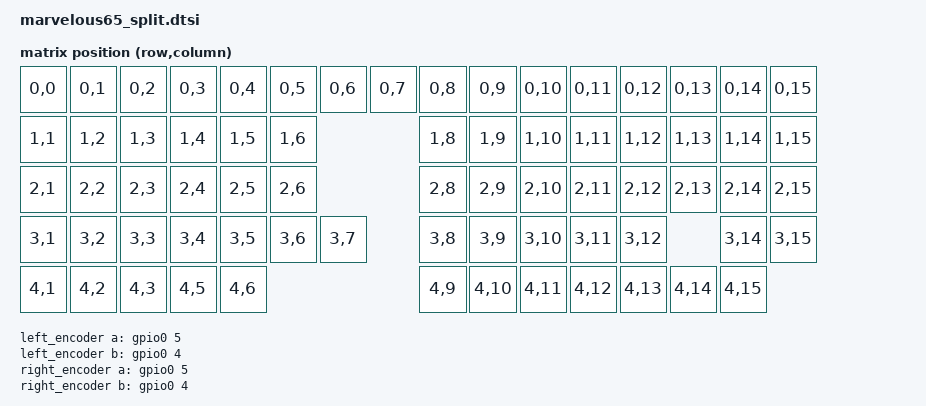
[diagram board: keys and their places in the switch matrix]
/*
 * Copyright (c) 2024 Ujang Karnadi
 *
 * SPDX-License-Identifier: MIT
 *
 * Marvelous65 Split — shared dtsi for both halves.
 *
 * 16 logical columns (8 left + 8 right) × 5 rows. The right half's
 * overlay sets col-offset = <8> on default_transform so its keys
 * land in columns 8–15. The matrix wiring (col/row gpios) is set in
 * the per-half overlay since the two halves have different pinouts.
 *
 * Both halves have:
 *   - 1 EC11 encoder (left_encoder or right_encoder, only one enabled)
 *   - 1 SSD1306 128x32 OLED on I2C0 @ 0x3C
 *   - 1 WS2812 RGB strip on SPI1
 *   - 1 zmk,ext-power-generic on P1.09
 *
 * Choose half with `-DSHIELD=marvelous65_split_left` or `_right`.
 * Default board is `nrfmicro_13`; override with `--board <name>` for
 * any other Pro Micro pin-compatible controller.
 */

#include <dt-bindings/zmk/matrix_transform.h>
#include <dt-bindings/led/led.h>

/ {
    chosen {
        zmk,kscan = &kscan0;
        zmk,matrix_transform = &default_transform;
        zephyr,display = &oled;
        zmk,underglow = &led_strip;
    };

    // 16 logical cols × 5 rows. The /+/ separator in the map marks the
    // boundary between left half (cols 0–7) and right half (cols 8–15).
    // Both halves use the same 16-col transform; the right half's
    // overlay adds col-offset = <8> so its keys land in cols 8–15.
    default_transform: keymap_transform_0 {
        compatible = "zmk,matrix-transform";
        columns = <16>;
        rows = <5>;

        // Row 0: 8 left keys (ESC..6) / 8 right keys (7..DEL)
        // Row 1: 7 left (TAB..T)        / 7 right (Y..BSLH)
        // Row 2: 6 left (CAPS..G)       / 8 right (H..C_PP)
        // Row 3: 7 left (LSFT..B)       / 6 right (N..UP)
        // Row 4: 5 left (LCTL..MO3)     / 7 right (SPC..RIGHT)
        map = <
RC(0,0) RC(0,1) RC(0,2) RC(0,3) RC(0,4) RC(0,5) RC(0,6) RC(0,7)  RC(0,8)  RC(0,9)  RC(0,10) RC(0,11) RC(0,12) RC(0,13) RC(0,14) RC(0,15)
RC(1,1) RC(1,2) RC(1,3) RC(1,4) RC(1,5) RC(1,6)                  RC(1,8)  RC(1,9)  RC(1,10) RC(1,11) RC(1,12) RC(1,13) RC(1,14) RC(1,15)
RC(2,1) RC(2,2) RC(2,3) RC(2,4) RC(2,5) RC(2,6)                  RC(2,8)  RC(2,9)  RC(2,10) RC(2,11) RC(2,12) RC(2,13) RC(2,14) RC(2,15)
RC(3,1) RC(3,2) RC(3,3) RC(3,4) RC(3,5) RC(3,6) RC(3,7)          RC(3,8)  RC(3,9)  RC(3,10) RC(3,11) RC(3,12)          RC(3,14) RC(3,15)
RC(4,1) RC(4,2) RC(4,3) RC(4,5) RC(4,6)                          RC(4,9)  RC(4,10) RC(4,11) RC(4,12) RC(4,13) RC(4,14) RC(4,15)
        >;
    };

    left_encoder: encoder_left {
        compatible = "alps,ec11";
        label = "LEFT_ENCODER";
        a-gpios = <&gpio0 5 (GPIO_ACTIVE_HIGH | GPIO_PULL_UP)>;
        b-gpios = <&gpio0 4 (GPIO_ACTIVE_HIGH | GPIO_PULL_UP)>;
        resolution = <4>;
        status = "disabled";
    };

    right_encoder: encoder_right {
        compatible = "alps,ec11";
        label = "RIGHT_ENCODER";
        a-gpios = <&gpio0 5 (GPIO_ACTIVE_HIGH | GPIO_PULL_UP)>;
        b-gpios = <&gpio0 4 (GPIO_ACTIVE_HIGH | GPIO_PULL_UP)>;
        resolution = <4>;
        status = "disabled";
    };

    sensors {
        compatible = "zmk,keymap-sensors";
        sensors = <&left_encoder &right_encoder>;
    };

    // Node name must match the upstream "EXT_POWER" label to preserve
    // user settings across reflash.
    EXT_POWER {
        compatible = "zmk,ext-power-generic";
        control-gpios = <&gpio1 9 GPIO_ACTIVE_LOW>;
        init-delay-ms = <300>;
    };
};

&i2c0 {
    status = "okay";

    oled: ssd1306@3c {
        compatible = "solomon,ssd1306fb";
        reg = <0x3c>;
        label = "DISPLAY";
        width = <128>;
        height = <32>;
        segment-offset = <0>;
        page-offset = <0>;
        display-offset = <0>;
        multiplex-ratio = <31>;
        segment-remap;
        com-invdir;
        com-sequential;
        prechargep = <0x22>;
    };
};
